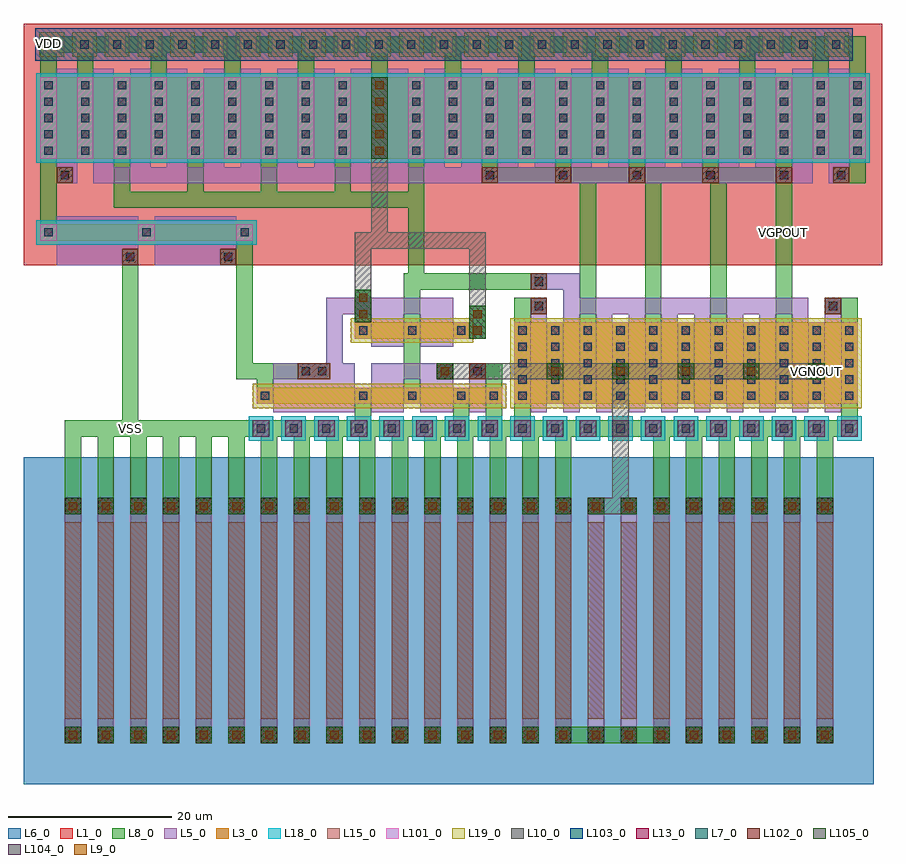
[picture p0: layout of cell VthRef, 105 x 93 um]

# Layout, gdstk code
from math import pi, radians
import gdstk
lib = gdstk.Library(unit=1e-6, precision=1e-09)
def R(c, l, rs):  # rectangles x0, y0, x1, y1
    for r in rs: c.add(gdstk.rectangle(r[:2], r[2:], *l))
def A(c, l, x, y, w, h, nx, ny, dx, dy):  # array of equal rectangles
    R(c, l, [(x+i*dx, y+j*dy, x+i*dx+w, y+j*dy+h) for i in range(nx) for j in range(ny)])
def P(c, l, *ps):  # polygons
    for p in ps: c.add(gdstk.Polygon(p, *l))
L1_0 = (1, 0)
L3_0 = (3, 0)
L5_0 = (5, 0)
L6_0 = (6, 0)
L7_0 = (7, 0)
L8_0 = (8, 0)
L9_0 = (9, 0)
L10_0 = (10, 0)
L13_0 = (13, 0)
L15_0 = (15, 0)
L18_0 = (18, 0)
L19_0 = (19, 0)
L101_0 = (101, 0)
L102_0 = (102, 0)
L103_0 = (103, 0)
L104_0 = (104, 0)
L105_0 = (105, 0)

dcont = lib.new_cell('dcont')
R(dcont, L3_0, [(-1,-1,1,1)])
R(dcont, L7_0, [(-0.5,-0.5,0.5,0.5)])
R(dcont, L8_0, [(-1,-1,1,1)])
R(dcont, L13_0, [(-0.5,-0.5,0.5,0.5)])
R(dcont, L101_0, [(-1,-1,1,1)])

nch_5 = lib.new_cell('Nch$5')
R(nch_5, L3_0, [(0,3,14,5)])
R(nch_5, L19_0, [(-0.5,2.5,14.5,5.5)])
nch_5.add(gdstk.FlexPath([(1,3),(1,5)], 2, ends="flush", simple_path=True, layer=8, datatype=0))  # L8_0
nch_5.add(gdstk.FlexPath([(13,3),(13,5)], 2, ends="flush", simple_path=True, layer=8, datatype=0))  # L8_0
nch_5.add(gdstk.FlexPath([(7,3),(7,5)], 10, ends=(1, 1), simple_path=True, layer=5, datatype=0))  # L5_0
nch_5.add(gdstk.Reference(dcont, (1,4)))
nch_5.add(gdstk.Reference(dcont, (13,4)))

pcont_1 = lib.new_cell('pcont$1')
R(pcont_1, L5_0, [(-1,-1,1,1)])
R(pcont_1, L7_0, [(-0.5,-0.5,0.5,0.5)])
R(pcont_1, L8_0, [(-1,-1,1,1)])
R(pcont_1, L13_0, [(-0.5,-0.5,0.5,0.5)])
R(pcont_1, L102_0, [(-1,-1,1,1)])

dcont1 = lib.new_cell('dcont1')
R(dcont1, L3_0, [(-1,-1,1,1)])
R(dcont1, L7_0, [(-0.5,-0.5,0.5,0.5)])
R(dcont1, L8_0, [(-1,-1,1,1)])
R(dcont1, L13_0, [(-0.5,-0.5,0.5,0.5)])
R(dcont1, L101_0, [(-1,-1,1,1)])

psubcont = lib.new_cell('psubcont')
R(psubcont, L18_0, [(-1.5,-1.5,1.5,1.5)])
R(psubcont, L104_0, [(-1,-1,1,1)])
psubcont.add(gdstk.Reference(dcont1, (0,0)))

nch_3 = lib.new_cell('Nch$3')
R(nch_3, L3_0, [(0,3,14,5)])
R(nch_3, L19_0, [(-0.5,2.5,14.5,5.5)])
nch_3.add(gdstk.FlexPath([(1,3),(1,5)], 2, ends="flush", simple_path=True, layer=8, datatype=0))  # L8_0
nch_3.add(gdstk.FlexPath([(7,3),(7,5)], 2, ends="flush", simple_path=True, layer=8, datatype=0))  # L8_0
nch_3.add(gdstk.FlexPath([(13,3),(13,5)], 2, ends="flush", simple_path=True, layer=8, datatype=0))  # L8_0
nch_3.add(gdstk.FlexPath([(4,3),(4,5)], 4, ends=(1, 1), simple_path=True, layer=5, datatype=0))  # L5_0
nch_3.add(gdstk.FlexPath([(10,3),(10,5)], 4, ends=(1, 1), simple_path=True, layer=5, datatype=0))  # L5_0
nch_3.add(gdstk.Reference(dcont, (1,4)))
nch_3.add(gdstk.Reference(dcont, (7,4)))
nch_3.add(gdstk.Reference(dcont, (13,4)))

nch_4 = lib.new_cell('Nch$4')
R(nch_4, L3_0, [(0,3,34,13)])
R(nch_4, L19_0, [(-0.5,2.5,34.5,13.5)])
nch_4.add(gdstk.FlexPath([(1,3),(1,13)], 2, ends="flush", simple_path=True, layer=8, datatype=0))  # L8_0
nch_4.add(gdstk.FlexPath([(5,3),(5,13)], 2, ends="flush", simple_path=True, layer=8, datatype=0))  # L8_0
nch_4.add(gdstk.FlexPath([(9,3),(9,13)], 2, ends="flush", simple_path=True, layer=8, datatype=0))  # L8_0
nch_4.add(gdstk.FlexPath([(13,3),(13,13)], 2, ends="flush", simple_path=True, layer=8, datatype=0))  # L8_0
nch_4.add(gdstk.FlexPath([(17,3),(17,13)], 2, ends="flush", simple_path=True, layer=8, datatype=0))  # L8_0
nch_4.add(gdstk.FlexPath([(21,3),(21,13)], 2, ends="flush", simple_path=True, layer=8, datatype=0))  # L8_0
nch_4.add(gdstk.FlexPath([(25,3),(25,13)], 2, ends="flush", simple_path=True, layer=8, datatype=0))  # L8_0
nch_4.add(gdstk.FlexPath([(29,3),(29,13)], 2, ends="flush", simple_path=True, layer=8, datatype=0))  # L8_0
nch_4.add(gdstk.FlexPath([(33,3),(33,13)], 2, ends="flush", simple_path=True, layer=8, datatype=0))  # L8_0
nch_4.add(gdstk.FlexPath([(3,3),(3,13)], 2, ends="extended", simple_path=True, layer=5, datatype=0))  # L5_0
nch_4.add(gdstk.FlexPath([(7,3),(7,13)], 2, ends="extended", simple_path=True, layer=5, datatype=0))  # L5_0
nch_4.add(gdstk.FlexPath([(11,3),(11,13)], 2, ends="extended", simple_path=True, layer=5, datatype=0))  # L5_0
nch_4.add(gdstk.FlexPath([(15,3),(15,13)], 2, ends="extended", simple_path=True, layer=5, datatype=0))  # L5_0
nch_4.add(gdstk.FlexPath([(19,3),(19,13)], 2, ends="extended", simple_path=True, layer=5, datatype=0))  # L5_0
nch_4.add(gdstk.FlexPath([(23,3),(23,13)], 2, ends="extended", simple_path=True, layer=5, datatype=0))  # L5_0
nch_4.add(gdstk.FlexPath([(27,3),(27,13)], 2, ends="extended", simple_path=True, layer=5, datatype=0))  # L5_0
nch_4.add(gdstk.FlexPath([(31,3),(31,13)], 2, ends="extended", simple_path=True, layer=5, datatype=0))  # L5_0
nch_4.add(gdstk.Reference(dcont, (1,4)))
nch_4.add(gdstk.Reference(dcont, (1,6)))
nch_4.add(gdstk.Reference(dcont, (1,8)))
nch_4.add(gdstk.Reference(dcont, (1,10)))
nch_4.add(gdstk.Reference(dcont, (1,12)))
nch_4.add(gdstk.Reference(dcont, (5,4)))
nch_4.add(gdstk.Reference(dcont, (5,6)))
nch_4.add(gdstk.Reference(dcont, (5,8)))
nch_4.add(gdstk.Reference(dcont, (5,10)))
nch_4.add(gdstk.Reference(dcont, (5,12)))
nch_4.add(gdstk.Reference(dcont, (9,4)))
nch_4.add(gdstk.Reference(dcont, (9,6)))
nch_4.add(gdstk.Reference(dcont, (9,8)))
nch_4.add(gdstk.Reference(dcont, (9,10)))
nch_4.add(gdstk.Reference(dcont, (9,12)))
nch_4.add(gdstk.Reference(dcont, (13,4)))
nch_4.add(gdstk.Reference(dcont, (13,6)))
nch_4.add(gdstk.Reference(dcont, (13,8)))
nch_4.add(gdstk.Reference(dcont, (13,10)))
nch_4.add(gdstk.Reference(dcont, (13,12)))
nch_4.add(gdstk.Reference(dcont, (17,4)))
nch_4.add(gdstk.Reference(dcont, (17,6)))
nch_4.add(gdstk.Reference(dcont, (17,8)))
nch_4.add(gdstk.Reference(dcont, (17,10)))
nch_4.add(gdstk.Reference(dcont, (17,12)))
nch_4.add(gdstk.Reference(dcont, (21,4)))
nch_4.add(gdstk.Reference(dcont, (21,6)))
nch_4.add(gdstk.Reference(dcont, (21,8)))
nch_4.add(gdstk.Reference(dcont, (21,10)))
nch_4.add(gdstk.Reference(dcont, (21,12)))
nch_4.add(gdstk.Reference(dcont, (25,4)))
nch_4.add(gdstk.Reference(dcont, (25,6)))
nch_4.add(gdstk.Reference(dcont, (25,8)))
nch_4.add(gdstk.Reference(dcont, (25,10)))
nch_4.add(gdstk.Reference(dcont, (25,12)))
nch_4.add(gdstk.Reference(dcont, (29,4)))
nch_4.add(gdstk.Reference(dcont, (29,6)))
nch_4.add(gdstk.Reference(dcont, (29,8)))
nch_4.add(gdstk.Reference(dcont, (29,10)))
nch_4.add(gdstk.Reference(dcont, (29,12)))
nch_4.add(gdstk.Reference(dcont, (33,4)))
nch_4.add(gdstk.Reference(dcont, (33,6)))
nch_4.add(gdstk.Reference(dcont, (33,8)))
nch_4.add(gdstk.Reference(dcont, (33,10)))
nch_4.add(gdstk.Reference(dcont, (33,12)))

via = lib.new_cell('Via')
R(via, L8_0, [(-1,-1,1,1)])
R(via, L9_0, [(-0.5,-0.5,0.5,0.5)])
R(via, L10_0, [(-1,-1,1,1)])
R(via, L13_0, [(-0.5,-0.5,0.5,0.5)])
R(via, L105_0, [(-1,-1,1,1)])

pcont = lib.new_cell('pcont')
R(pcont, L5_0, [(-1,-1,1,1)])
R(pcont, L7_0, [(-0.5,-0.5,0.5,0.5)])
R(pcont, L8_0, [(-1,-1,1,1)])
R(pcont, L13_0, [(-0.5,-0.5,0.5,0.5)])
R(pcont, L102_0, [(-1,-1,1,1)])

hr_poly = lib.new_cell('HR_poly')
R(hr_poly, L6_0, [(-5,-5,7,35)])
R(hr_poly, L8_0, [(0,0,2,2), (0,28,2,30)])
R(hr_poly, L10_0, [(0,0,2,2), (0,28,2,30)])
hr_poly.add(gdstk.FlexPath([(1,3),(1,27)], 2, ends=(3, 3), simple_path=True, layer=5, datatype=0))  # L5_0
hr_poly.add(gdstk.FlexPath([(1,3),(1,27)], 2, ends="flush", simple_path=True, layer=15, datatype=0))  # L15_0
hr_poly.add(gdstk.Reference(via, (1,1)))
hr_poly.add(gdstk.Reference(pcont, (1,1)))
hr_poly.add(gdstk.Reference(via, (1,29)))
hr_poly.add(gdstk.Reference(pcont, (1,29)))

via_1 = lib.new_cell('Via$1')
R(via_1, L8_0, [(-1,-1,1,1)])
R(via_1, L9_0, [(-0.5,-0.5,0.5,0.5)])
R(via_1, L10_0, [(-1,-1,1,1)])
R(via_1, L13_0, [(-0.5,-0.5,0.5,0.5)])
R(via_1, L105_0, [(-1,-1,1,1)])

pch_1 = lib.new_cell('Pch$1')
R(pch_1, L1_0, [(-2,-1.5,49,16)])
R(pch_1, L3_0, [(0,3,47,13)])
R(pch_1, L18_0, [(-0.5,2.5,47.5,13.5)])
pch_1.add(gdstk.FlexPath([(1,3),(1,13)], 2, ends="flush", simple_path=True, layer=8, datatype=0))  # L8_0
pch_1.add(gdstk.FlexPath([(5.5,3),(5.5,13)], 2, ends="flush", simple_path=True, layer=8, datatype=0))  # L8_0
pch_1.add(gdstk.FlexPath([(10,3),(10,13)], 2, ends="flush", simple_path=True, layer=8, datatype=0))  # L8_0
pch_1.add(gdstk.FlexPath([(14.5,3),(14.5,13)], 2, ends="flush", simple_path=True, layer=8, datatype=0))  # L8_0
pch_1.add(gdstk.FlexPath([(19,3),(19,13)], 2, ends="flush", simple_path=True, layer=8, datatype=0))  # L8_0
pch_1.add(gdstk.FlexPath([(23.5,3),(23.5,13)], 2, ends="flush", simple_path=True, layer=8, datatype=0))  # L8_0
pch_1.add(gdstk.FlexPath([(28,3),(28,13)], 2, ends="flush", simple_path=True, layer=8, datatype=0))  # L8_0
pch_1.add(gdstk.FlexPath([(32.5,3),(32.5,13)], 2, ends="flush", simple_path=True, layer=8, datatype=0))  # L8_0
pch_1.add(gdstk.FlexPath([(37,3),(37,13)], 2, ends="flush", simple_path=True, layer=8, datatype=0))  # L8_0
pch_1.add(gdstk.FlexPath([(41.5,3),(41.5,13)], 2, ends="flush", simple_path=True, layer=8, datatype=0))  # L8_0
pch_1.add(gdstk.FlexPath([(46,3),(46,13)], 2, ends="flush", simple_path=True, layer=8, datatype=0))  # L8_0
pch_1.add(gdstk.FlexPath([(3.25,3),(3.25,13)], 2.5, ends=(1, 1), simple_path=True, layer=5, datatype=0))  # L5_0
pch_1.add(gdstk.FlexPath([(7.75,3),(7.75,13)], 2.5, ends=(1, 1), simple_path=True, layer=5, datatype=0))  # L5_0
pch_1.add(gdstk.FlexPath([(12.25,3),(12.25,13)], 2.5, ends=(1, 1), simple_path=True, layer=5, datatype=0))  # L5_0
pch_1.add(gdstk.FlexPath([(16.75,3),(16.75,13)], 2.5, ends=(1, 1), simple_path=True, layer=5, datatype=0))  # L5_0
pch_1.add(gdstk.FlexPath([(21.25,3),(21.25,13)], 2.5, ends=(1, 1), simple_path=True, layer=5, datatype=0))  # L5_0
pch_1.add(gdstk.FlexPath([(25.75,3),(25.75,13)], 2.5, ends=(1, 1), simple_path=True, layer=5, datatype=0))  # L5_0
pch_1.add(gdstk.FlexPath([(30.25,3),(30.25,13)], 2.5, ends=(1, 1), simple_path=True, layer=5, datatype=0))  # L5_0
pch_1.add(gdstk.FlexPath([(34.75,3),(34.75,13)], 2.5, ends=(1, 1), simple_path=True, layer=5, datatype=0))  # L5_0
pch_1.add(gdstk.FlexPath([(39.25,3),(39.25,13)], 2.5, ends=(1, 1), simple_path=True, layer=5, datatype=0))  # L5_0
pch_1.add(gdstk.FlexPath([(43.75,3),(43.75,13)], 2.5, ends=(1, 1), simple_path=True, layer=5, datatype=0))  # L5_0
pch_1.add(gdstk.Reference(dcont, (1,4)))
pch_1.add(gdstk.Reference(dcont, (1,6)))
pch_1.add(gdstk.Reference(dcont, (1,8)))
pch_1.add(gdstk.Reference(dcont, (1,10)))
pch_1.add(gdstk.Reference(dcont, (1,12)))
pch_1.add(gdstk.Reference(dcont, (5.5,4)))
pch_1.add(gdstk.Reference(dcont, (5.5,6)))
pch_1.add(gdstk.Reference(dcont, (5.5,8)))
pch_1.add(gdstk.Reference(dcont, (5.5,10)))
pch_1.add(gdstk.Reference(dcont, (5.5,12)))
pch_1.add(gdstk.Reference(dcont, (10,4)))
pch_1.add(gdstk.Reference(dcont, (10,6)))
pch_1.add(gdstk.Reference(dcont, (10,8)))
pch_1.add(gdstk.Reference(dcont, (10,10)))
pch_1.add(gdstk.Reference(dcont, (10,12)))
pch_1.add(gdstk.Reference(dcont, (14.5,4)))
pch_1.add(gdstk.Reference(dcont, (14.5,6)))
pch_1.add(gdstk.Reference(dcont, (14.5,8)))
pch_1.add(gdstk.Reference(dcont, (14.5,10)))
pch_1.add(gdstk.Reference(dcont, (14.5,12)))
pch_1.add(gdstk.Reference(dcont, (19,4)))
pch_1.add(gdstk.Reference(dcont, (19,6)))
pch_1.add(gdstk.Reference(dcont, (19,8)))
pch_1.add(gdstk.Reference(dcont, (19,10)))
pch_1.add(gdstk.Reference(dcont, (19,12)))
pch_1.add(gdstk.Reference(dcont, (23.5,4)))
pch_1.add(gdstk.Reference(dcont, (23.5,6)))
pch_1.add(gdstk.Reference(dcont, (23.5,8)))
pch_1.add(gdstk.Reference(dcont, (23.5,10)))
pch_1.add(gdstk.Reference(dcont, (23.5,12)))
pch_1.add(gdstk.Reference(dcont, (28,4)))
pch_1.add(gdstk.Reference(dcont, (28,6)))
pch_1.add(gdstk.Reference(dcont, (28,8)))
pch_1.add(gdstk.Reference(dcont, (28,10)))
pch_1.add(gdstk.Reference(dcont, (28,12)))
pch_1.add(gdstk.Reference(dcont, (32.5,4)))
pch_1.add(gdstk.Reference(dcont, (32.5,6)))
pch_1.add(gdstk.Reference(dcont, (32.5,8)))
pch_1.add(gdstk.Reference(dcont, (32.5,10)))
pch_1.add(gdstk.Reference(dcont, (32.5,12)))
pch_1.add(gdstk.Reference(dcont, (37,4)))
pch_1.add(gdstk.Reference(dcont, (37,6)))
pch_1.add(gdstk.Reference(dcont, (37,8)))
pch_1.add(gdstk.Reference(dcont, (37,10)))
pch_1.add(gdstk.Reference(dcont, (37,12)))
pch_1.add(gdstk.Reference(dcont, (41.5,4)))
pch_1.add(gdstk.Reference(dcont, (41.5,6)))
pch_1.add(gdstk.Reference(dcont, (41.5,8)))
pch_1.add(gdstk.Reference(dcont, (41.5,10)))
pch_1.add(gdstk.Reference(dcont, (41.5,12)))
pch_1.add(gdstk.Reference(dcont, (46,4)))
pch_1.add(gdstk.Reference(dcont, (46,6)))
pch_1.add(gdstk.Reference(dcont, (46,8)))
pch_1.add(gdstk.Reference(dcont, (46,10)))
pch_1.add(gdstk.Reference(dcont, (46,12)))

nch = lib.new_cell('Nch')
R(nch, L3_0, [(0,3,6,5)])
R(nch, L19_0, [(-0.5,2.5,6.5,5.5)])
nch.add(gdstk.FlexPath([(1,3),(1,5)], 2, ends="flush", simple_path=True, layer=8, datatype=0))  # L8_0
nch.add(gdstk.FlexPath([(5,3),(5,5)], 2, ends="flush", simple_path=True, layer=8, datatype=0))  # L8_0
nch.add(gdstk.FlexPath([(3,3),(3,5)], 2, ends="extended", simple_path=True, layer=5, datatype=0))  # L5_0
nch.add(gdstk.Reference(dcont, (1,4)))
nch.add(gdstk.Reference(dcont, (5,4)))

pch = lib.new_cell('Pch')
R(pch, L1_0, [(-2,0,8.5,17.5)])
R(pch, L3_0, [(0,3,6.5,13)])
R(pch, L18_0, [(-0.5,2.5,7,13.5)])
pch.add(gdstk.FlexPath([(1,3),(1,13)], 2, ends="flush", simple_path=True, layer=8, datatype=0))  # L8_0
pch.add(gdstk.FlexPath([(5.5,3),(5.5,13)], 2, ends="flush", simple_path=True, layer=8, datatype=0))  # L8_0
pch.add(gdstk.FlexPath([(3.25,3),(3.25,13)], 2.5, ends=(1, 1), simple_path=True, layer=5, datatype=0))  # L5_0
pch.add(gdstk.Reference(dcont, (1,4)))
pch.add(gdstk.Reference(dcont, (1,6)))
pch.add(gdstk.Reference(dcont, (1,8)))
pch.add(gdstk.Reference(dcont, (1,10)))
pch.add(gdstk.Reference(dcont, (1,12)))
pch.add(gdstk.Reference(dcont, (5.5,4)))
pch.add(gdstk.Reference(dcont, (5.5,6)))
pch.add(gdstk.Reference(dcont, (5.5,8)))
pch.add(gdstk.Reference(dcont, (5.5,10)))
pch.add(gdstk.Reference(dcont, (5.5,12)))

nsubcont = lib.new_cell('nsubcont')
R(nsubcont, L1_0, [(-2,-2,2,2)])
R(nsubcont, L19_0, [(-1.5,-1.5,1.5,1.5)])
R(nsubcont, L103_0, [(-2,-2,2,2)])
nsubcont.add(gdstk.Reference(dcont1, (0,0)))

nch_6 = lib.new_cell('Nch$6')
R(nch_6, L3_0, [(0,3,6,13)])
R(nch_6, L19_0, [(-0.5,2.5,6.5,13.5)])
nch_6.add(gdstk.FlexPath([(1,3),(1,13)], 2, ends="flush", simple_path=True, layer=8, datatype=0))  # L8_0
nch_6.add(gdstk.FlexPath([(5,3),(5,13)], 2, ends="flush", simple_path=True, layer=8, datatype=0))  # L8_0
nch_6.add(gdstk.FlexPath([(3,3),(3,13)], 2, ends="extended", simple_path=True, layer=5, datatype=0))  # L5_0
nch_6.add(gdstk.Reference(dcont, (1,4)))
nch_6.add(gdstk.Reference(dcont, (1,6)))
nch_6.add(gdstk.Reference(dcont, (1,8)))
nch_6.add(gdstk.Reference(dcont, (1,10)))
nch_6.add(gdstk.Reference(dcont, (1,12)))
nch_6.add(gdstk.Reference(dcont, (5,4)))
nch_6.add(gdstk.Reference(dcont, (5,6)))
nch_6.add(gdstk.Reference(dcont, (5,8)))
nch_6.add(gdstk.Reference(dcont, (5,10)))
nch_6.add(gdstk.Reference(dcont, (5,12)))

pch_2 = lib.new_cell('Pch$2')
R(pch_2, L1_0, [(-2,0,16,9.5)])
R(pch_2, L3_0, [(0,3,14,5)])
R(pch_2, L18_0, [(-0.5,2.5,14.5,5.5)])
pch_2.add(gdstk.FlexPath([(1,3),(1,5)], 2, ends="flush", simple_path=True, layer=8, datatype=0))  # L8_0
pch_2.add(gdstk.FlexPath([(13,3),(13,5)], 2, ends="flush", simple_path=True, layer=8, datatype=0))  # L8_0
pch_2.add(gdstk.FlexPath([(7,3),(7,5)], 10, ends=(1, 1), simple_path=True, layer=5, datatype=0))  # L5_0
pch_2.add(gdstk.Reference(dcont, (1,4)))
pch_2.add(gdstk.Reference(dcont, (13,4)))

vthref = lib.new_cell('VthRef')
R(vthref, L1_0, [(0,63.5,105,93)])
R(vthref, L5_0, [(30.5,49.5,40.5,51.5), (42.5,49.5,52.5,51.5), (4,63.5,14,65.5), (16,63.5,26,65.5), (4,73.5,6.5,75.5), (8.5,73.5,96.5,75.5), (98.5,73.5,101,75.5)])
P(vthref, L5_0, [(66,57.5),(66,60.5),(62,60.5),(62,62.5),(68,62.5),(68,59.5),(96,59.5),(96,57.5)],
  [(37,51.5),(37,59.5),(52.5,59.5),(52.5,57.5),(39,57.5),(39,51.5)])
A(vthref, L8_0, 5, 5, 2, 37.5, 16, 1, 4, 0)
A(vthref, L8_0, 77, 5, 2, 37.5, 6, 1, 4, 0)
R(vthref, L8_0, [(67,5,77,7), (2,89.5,102.9,91.5)])
P(vthref, L8_0, [(68,56.5),(68,73.5),(56,73.5),(56,76.5),(58,76.5),(58,75.5),(65,75.5),(65,76.5),(67,76.5),(67,75.5),(74,75.5),(74,76.5),(76,76.5),(76,75.5),(83,75.5),(83,76.5),(85,76.5),(85,75.5),(92,75.5),(92,76.5),(94,76.5),(94,56.5),(92,56.5),(92,73.5),(86,73.5),(86,56.5),(84,56.5),(84,73.5),(78,73.5),(78,56.5),(76,56.5),(76,73.5),(70,73.5),(70,56.5)],
  [(46.5,48.5),(46.5,62.5),(47,62.5),(47,70.5),(11,70.5),(11,76.5),(13,76.5),(13,72.5),(20,72.5),(20,76.5),(22,76.5),(22,72.5),(29,72.5),(29,76.5),(31,76.5),(31,72.5),(38,72.5),(38,76.5),(40,76.5),(40,72.5),(47,72.5),(47,76.5),(49,76.5),(49,62.5),(62,62.5),(62,60.5),(48.5,60.5),(48.5,48.5)],
  [(5,42.5),(5,44.5),(12,44.5),(12,63.5),(14,63.5),(14,44.5),(40.5,44.5),(40.5,46.5),(42.5,46.5),(42.5,44.5),(52.5,44.5),(52.5,46.5),(54.5,46.5),(54.5,44.5),(56.5,44.5),(56.5,51.5),(58.5,51.5),(58.5,44.5),(60,44.5),(60,59.5),(62,59.5),(62,44.5),(100,44.5),(100,59.5),(102,59.5),(102,42.5)])
P(vthref, L10_0, [(69,33),(69,35),(72,35),(72,50.5),(74,50.5),(74,35),(75,35),(75,33)],
  [(40.5,58.5),(40.5,67.5),(42.5,67.5),(42.5,76.5),(44.5,76.5),(44.5,67.5),(56.5,67.5),(56.5,58.5),(54.5,58.5),(54.5,65.5),(42.5,65.5),(42.5,58.5)])
vthref.add(gdstk.FlexPath([(3,68.5),(3,91.5)], 2, ends="flush", simple_path=True, layer=8, datatype=0))  # L8_0
vthref.add(gdstk.FlexPath([(29.5,48.5),(29.5,50.5),(33.5,50.5)], 2, ends="flush", simple_path=True, layer=8, datatype=0))  # L8_0
vthref.add(gdstk.FlexPath([(27,66.5),(27,50.5),(29.5,50.5)], 2, ends="flush", simple_path=True, layer=8, datatype=0))  # L8_0
vthref.add(gdstk.FlexPath([(7.5,86.5),(7.5,89.5)], 2, ends="flush", simple_path=True, layer=8, datatype=0))  # L8_0
vthref.add(gdstk.FlexPath([(16.5,86.5),(16.5,89.5)], 2, ends="flush", simple_path=True, layer=8, datatype=0))  # L8_0
vthref.add(gdstk.FlexPath([(25.5,86.5),(25.5,89.5)], 2, ends="flush", simple_path=True, layer=8, datatype=0))  # L8_0
vthref.add(gdstk.FlexPath([(34.5,86.5),(34.5,89.5)], 2, ends="flush", simple_path=True, layer=8, datatype=0))  # L8_0
vthref.add(gdstk.FlexPath([(43.5,86.5),(43.5,89.5)], 2, ends="flush", simple_path=True, layer=8, datatype=0))  # L8_0
vthref.add(gdstk.FlexPath([(52.5,86.5),(52.5,89.5)], 2, ends="flush", simple_path=True, layer=8, datatype=0))  # L8_0
vthref.add(gdstk.FlexPath([(61.5,86.5),(61.5,89.5)], 2, ends="flush", simple_path=True, layer=8, datatype=0))  # L8_0
vthref.add(gdstk.FlexPath([(70.5,86.5),(70.5,89.5)], 2, ends="flush", simple_path=True, layer=8, datatype=0))  # L8_0
vthref.add(gdstk.FlexPath([(79.5,86.5),(79.5,89.5)], 2, ends="flush", simple_path=True, layer=8, datatype=0))  # L8_0
vthref.add(gdstk.FlexPath([(88.5,86.5),(88.5,89.5)], 2, ends="flush", simple_path=True, layer=8, datatype=0))  # L8_0
vthref.add(gdstk.FlexPath([(97.5,86.5),(97.5,89.5)], 2, ends="flush", simple_path=True, layer=8, datatype=0))  # L8_0
vthref.add(gdstk.FlexPath([(102,73.5),(102,91.5)], 2, ends="flush", simple_path=True, layer=8, datatype=0))  # L8_0
vthref.add(gdstk.FlexPath([(52.5,50.5),(96,50.5)], 2, ends="flush", simple_path=True, layer=10, datatype=0))  # L10_0
vthref.add(gdstk.Reference(nch_5, (42.5,43.5), rotation=pi, x_reflection=True))
r = gdstk.Reference(pcont_1, (34.5,50.5)); r.repetition = gdstk.Repetition(2, 1, v1=(2,0), v2=(0,0)); vthref.add(r)
r = gdstk.Reference(psubcont, (29,43.5)); r.repetition = gdstk.Repetition(19, 1, v1=(4,0), v2=(0,0)); vthref.add(r)
vthref.add(gdstk.Reference(nch_3, (40.5,43.5)))
vthref.add(gdstk.Reference(nch_4, (64,43.5)))
vthref.add(gdstk.Reference(nch_3, (40.5,51.5)))
r = gdstk.Reference(hr_poly, (5,5)); r.repetition = gdstk.Repetition(24, 1, v1=(4,0), v2=(0,0)); vthref.add(r)
vthref.add(gdstk.Reference(pcont_1, (51.5,50.5)))
vthref.add(gdstk.Reference(via_1, (51.5,50.5)))
r = gdstk.Reference(via_1, (65,50.5)); r.repetition = gdstk.Repetition(5, 1, v1=(8,0), v2=(0,0)); vthref.add(r)
vthref.add(gdstk.Reference(pch_1, (51.5,73.5)))
vthref.add(gdstk.Reference(nch, (52.5,43.5)))
vthref.add(gdstk.Reference(pcont_1, (55.5,50.5)))
vthref.add(gdstk.Reference(pch, (8.5,89.5), rotation=pi))
vthref.add(gdstk.Reference(pch_1, (6.5,73.5)))
vthref.add(gdstk.Reference(pch, (103,89.5), rotation=pi))
r = gdstk.Reference(nsubcont, (3.4,90.5)); r.repetition = gdstk.Repetition(25, 1, v1=(4,0), v2=(0,0)); vthref.add(r)
vthref.add(gdstk.Reference(pcont_1, (100,74.5)))
vthref.add(gdstk.Reference(pcont_1, (5,74.5)))
r = gdstk.Reference(pcont_1, (57,74.5)); r.repetition = gdstk.Repetition(5, 1, v1=(9,0), v2=(0,0)); vthref.add(r)
vthref.add(gdstk.Reference(nch_6, (96,43.5)))
vthref.add(gdstk.Reference(nch_6, (60,43.5)))
vthref.add(gdstk.Reference(pcont_1, (63,58.5)))
vthref.add(gdstk.Reference(pcont_1, (99,58.5)))
vthref.add(gdstk.Reference(pch_2, (2,63.5)))
vthref.add(gdstk.Reference(pch_2, (14,63.5)))
vthref.add(gdstk.Reference(pcont_1, (25,64.5)))
vthref.add(gdstk.Reference(pcont_1, (13,64.5)))
vthref.add(gdstk.Reference(pcont_1, (63,61.5)))
r = gdstk.Reference(via_1, (41.5,57.5)); r.repetition = gdstk.Repetition(1, 2, v1=(0,0), v2=(0,2)); vthref.add(r)
r = gdstk.Reference(via_1, (55.5,55.5)); r.repetition = gdstk.Repetition(1, 2, v1=(0,0), v2=(0,2)); vthref.add(r)
r = gdstk.Reference(via_1, (43.5,77.5)); r.repetition = gdstk.Repetition(1, 5, v1=(0,0), v2=(0,2)); vthref.add(r)
vthref.add(gdstk.Label('VGPOUT', (93,67.5), layer=8, texttype=0))
vthref.add(gdstk.Label('VSS', (13,43.5), layer=8, texttype=0))
vthref.add(gdstk.Label('VDD', (3,90.6), layer=8, texttype=0))
vthref.add(gdstk.Label('VGNOUT', (97,50.5), layer=8, texttype=0))

lib.write_gds('VthRef.gds')
